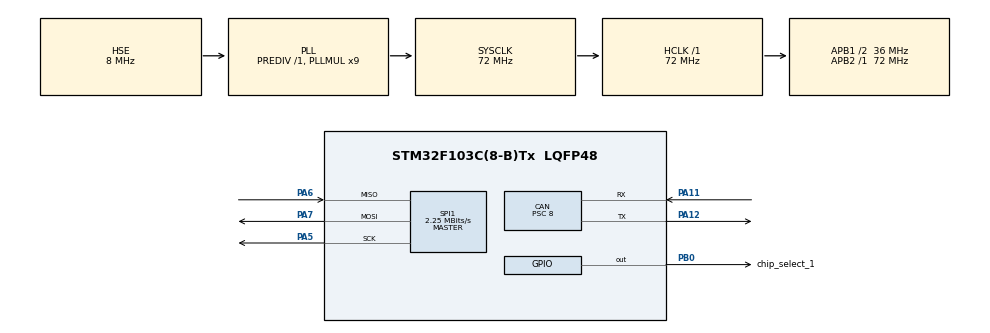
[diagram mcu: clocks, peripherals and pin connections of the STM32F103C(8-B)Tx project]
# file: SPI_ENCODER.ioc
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CAN.BS1=CAN_BS1_15TQ
CAN.BS2=CAN_BS2_2TQ
CAN.CalculateBaudRate=250000
CAN.CalculateTimeBit=4000
CAN.CalculateTimeQuantum=222.22222222222223
CAN.Mode=CAN_MODE_LOOPBACK
CAN.Prescaler=8
Mcu.Family=STM32F1
Mcu.Name=STM32F103C(8-B)Tx
Mcu.Package=LQFP48
NVIC.CAN1_RX1_IRQn=true\:0\:0\:false\:false\:true\:true\:true\:true
NVIC.PriorityGroup=NVIC_PRIORITYGROUP_4
NVIC.SPI1_IRQn=true\:0\:0\:false\:false\:true\:true\:true\:true
NVIC.USB_LP_CAN1_RX0_IRQn=true\:0\:0\:false\:false\:true\:true\:true\:true
PA11.Mode=CAN_Activate
PA11.Signal=CAN_RX
PA12.Mode=CAN_Activate
PA12.Signal=CAN_TX
PA13.Mode=Serial_Wire
PA13.Signal=SYS_JTMS-SWDIO
PA14.Mode=Serial_Wire
PA14.Signal=SYS_JTCK-SWCLK
PA5.Mode=Full_Duplex_Master
PA5.Signal=SPI1_SCK
PA6.Mode=Full_Duplex_Master
PA6.Signal=SPI1_MISO
PA7.Mode=Full_Duplex_Master
PA7.Signal=SPI1_MOSI
PB0.GPIO_Label=chip_select_1
PB0.Signal=GPIO_Output
PD0-OSC_IN.Mode=HSE-External-Oscillator
PD0-OSC_IN.Signal=RCC_OSC_IN
PD1-OSC_OUT.Mode=HSE-External-Oscillator
PD1-OSC_OUT.Signal=RCC_OSC_OUT
ProjectManager.HeapSize=0x200
ProjectManager.StackSize=0x400
ProjectManager.TargetToolchain=MDK-ARM V5.32
RCC.AHBFreq_Value=72000000
RCC.APB1CLKDivider=RCC_HCLK_DIV2
RCC.APB1Freq_Value=36000000
RCC.APB1TimFreq_Value=72000000
RCC.APB2Freq_Value=72000000
RCC.APB2TimFreq_Value=72000000
RCC.HCLKFreq_Value=72000000
RCC.PLLMUL=RCC_PLL_MUL9
RCC.PLLSourceVirtual=RCC_PLLSOURCE_HSE
RCC.SYSCLKFreq_VALUE=72000000
RCC.SYSCLKSource=RCC_SYSCLKSOURCE_PLLCLK
RCC.USBFreq_Value=72000000
SPI1.BaudRatePrescaler=SPI_BAUDRATEPRESCALER_32
SPI1.CLKPhase=SPI_PHASE_2EDGE
SPI1.CalculateBaudRate=2.25 MBits/s
SPI1.DataSize=SPI_DATASIZE_16BIT
SPI1.Direction=SPI_DIRECTION_2LINES
SPI1.Mode=SPI_MODE_MASTER
SPI1.VirtualType=VM_MASTER
board=custom

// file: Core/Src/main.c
/* USER CODE BEGIN Header */
/**
  ******************************************************************************
  * @file           : main.c
  * @brief          : Main program body
  ******************************************************************************
  * @attention
  *
  * Copyright (c) 2023 STMicroelectronics.
  * All rights reserved.
  *
  * This software is licensed under terms that can be found in the LICENSE file
  * in the root directory of this software component.
  * If no LICENSE file comes with this software, it is provided AS-IS.
  *
  ******************************************************************************
  */
/* USER CODE END Header */
#include "main.h"

CAN_HandleTypeDef hcan;

SPI_HandleTypeDef hspi1;

/* USER CODE BEGIN PV */
int test=0;
int cantest=0;
float Encoder_out=0;
CAN_TxHeaderTypeDef TxHeader;
CAN_RxHeaderTypeDef RxHeader;
uint32_t TxMailbox;
uint8_t TxData [8];
uint8_t RxData [8];
uint8_t a=0;
uint16_t new_enc=0;
//uint16_t data;
//uint32_t read_address=0xFFFF;

/* USER CODE END PV */

void SystemClock_Config(void);
static void MX_GPIO_Init(void);
static void MX_SPI1_Init(void);
static void MX_CAN_Init(void);

/* USER CODE BEGIN 0 */

float ReadEncoder_NEW(){
uint16_t new_enc;
uint16_t data;
uint32_t read_address=0xFFFF;
HAL_GPIO_WritePin(chip_select_1_GPIO_Port,chip_select_1_Pin,0);
HAL_Delay(10);
HAL_SPI_TransmitReceive_IT(&hspi1,(uint8_t*)read_address,(uint8_t*)&data,2);
HAL_Delay(10);
HAL_GPIO_WritePin(chip_select_1_GPIO_Port,chip_select_1_Pin,1);
HAL_Delay(10);
data=data & 0x3FFF;
new_enc=((data/16383.0)*720);

	TxHeader.StdId = 0x24;

	TxHeader.ExtId = 0;

	TxHeader.IDE = CAN_ID_STD;

	TxHeader.DLC  = 2;

	TxHeader.RTR = CAN_RTR_DATA;

	TxHeader.TransmitGlobalTime = DISABLE;

	  TxData[0] = new_enc >> 8 & 0xFF;
		TxData[1] = new_enc & 0xFF;
		TxData[2] = 0;
		TxData[3] = 0;
		TxData[4] = 0;
		TxData[5] = 0;
		TxData[6] = 0;
		TxData[7] = 0;

		HAL_CAN_AddTxMessage(&hcan, &TxHeader, TxData, &TxMailbox);
		HAL_Delay(1);

return new_enc;

}

void HAL_CAN_RxFifo0MsgPendingCallback(CAN_HandleTypeDef *hcan)
{

	cantest++;
	HAL_CAN_GetRxMessage(hcan,CAN_RX_FIFO0,&RxHeader , RxData);
	//HAL_GPIO_TogglePin(GPIOB,GPIO_PIN_9);
	//HAL_Delay(1000);

}

/* USER CODE END 0 */

int main(void)
{

  /* MCU Configuration--------------------------------------------------------*/

  /* Reset of all peripherals, Initializes the Flash interface and the Systick. */

  HAL_Init();

  /* Configure the system clock */
  SystemClock_Config();

  /* Initialize all configured peripherals */
  MX_GPIO_Init();
  MX_SPI1_Init();
  MX_CAN_Init();
  /* USER CODE BEGIN 2 */
	HAL_CAN_Start(&hcan);
	HAL_CAN_ActivateNotification(&hcan , CAN_IT_RX_FIFO0_MSG_PENDING);
	HAL_GPIO_WritePin(chip_select_1_GPIO_Port,chip_select_1_Pin,1);

  /* USER CODE END 2 */

  /* Infinite loop */
  while (1)
  {

    /* USER CODE BEGIN 3 */
		test++;
		Encoder_out=ReadEncoder_NEW();

		HAL_Delay(200);
  }
  /* USER CODE END 3 */
}

void SystemClock_Config(void)
{
  RCC_OscInitTypeDef RCC_OscInitStruct = {0};
  RCC_ClkInitTypeDef RCC_ClkInitStruct = {0};

  /** Initializes the RCC Oscillators according to the specified parameters
  * in the RCC_OscInitTypeDef structure.
  */
  RCC_OscInitStruct.OscillatorType = RCC_OSCILLATORTYPE_HSE;
  RCC_OscInitStruct.HSEState = RCC_HSE_ON;
  RCC_OscInitStruct.HSEPredivValue = RCC_HSE_PREDIV_DIV1;
  RCC_OscInitStruct.HSIState = RCC_HSI_ON;
  RCC_OscInitStruct.PLL.PLLState = RCC_PLL_ON;
  RCC_OscInitStruct.PLL.PLLSource = RCC_PLLSOURCE_HSE;
  RCC_OscInitStruct.PLL.PLLMUL = RCC_PLL_MUL9;
  if (HAL_RCC_OscConfig(&RCC_OscInitStruct) != HAL_OK)
  {
    Error_Handler();
  }

  /** Initializes the CPU, AHB and APB buses clocks
  */
  RCC_ClkInitStruct.ClockType = RCC_CLOCKTYPE_HCLK|RCC_CLOCKTYPE_SYSCLK
                              |RCC_CLOCKTYPE_PCLK1|RCC_CLOCKTYPE_PCLK2;
  RCC_ClkInitStruct.SYSCLKSource = RCC_SYSCLKSOURCE_PLLCLK;
  RCC_ClkInitStruct.AHBCLKDivider = RCC_SYSCLK_DIV1;
  RCC_ClkInitStruct.APB1CLKDivider = RCC_HCLK_DIV2;
  RCC_ClkInitStruct.APB2CLKDivider = RCC_HCLK_DIV1;

  if (HAL_RCC_ClockConfig(&RCC_ClkInitStruct, FLASH_LATENCY_2) != HAL_OK)
  {
    Error_Handler();
  }
}

static void MX_CAN_Init(void)
{

  hcan.Instance = CAN1;
  hcan.Init.Prescaler = 8;
  hcan.Init.Mode = CAN_MODE_NORMAL;
  hcan.Init.SyncJumpWidth = CAN_SJW_1TQ;
  hcan.Init.TimeSeg1 = CAN_BS1_15TQ;
  hcan.Init.TimeSeg2 = CAN_BS2_2TQ;
  hcan.Init.TimeTriggeredMode = DISABLE;
  hcan.Init.AutoBusOff = DISABLE;
  hcan.Init.AutoWakeUp = DISABLE;
  hcan.Init.AutoRetransmission = DISABLE;
  hcan.Init.ReceiveFifoLocked = DISABLE;
  hcan.Init.TransmitFifoPriority = DISABLE;
  if (HAL_CAN_Init(&hcan) != HAL_OK)
  {
    Error_Handler();
  }
  /* USER CODE BEGIN CAN_Init 2 */

	CAN_FilterTypeDef canfilterconfig;

	canfilterconfig.FilterActivation = CAN_FILTER_ENABLE;
	canfilterconfig.FilterBank = 10; //14 // which filter bank to use from the assigned ones
	canfilterconfig.FilterFIFOAssignment = CAN_FILTER_FIFO0;
	canfilterconfig.FilterIdHigh = 0x000<<5;
	canfilterconfig.FilterIdLow = 0;
	canfilterconfig.FilterMaskIdHigh = 0x000<<5;
	canfilterconfig.FilterMaskIdLow = 0x0000;
	canfilterconfig.FilterMode = CAN_FILTERMODE_IDMASK;
	canfilterconfig.FilterScale = CAN_FILTERSCALE_32BIT;
	canfilterconfig.SlaveStartFilterBank = 0;//14	// how many filters to assign to the CAN1 (master can)

	HAL_CAN_ConfigFilter(&hcan, &canfilterconfig);

  /* USER CODE END CAN_Init 2 */

}

static void MX_SPI1_Init(void)
{

  /* SPI1 parameter configuration*/
  hspi1.Instance = SPI1;
  hspi1.Init.Mode = SPI_MODE_MASTER;
  hspi1.Init.Direction = SPI_DIRECTION_2LINES;
  hspi1.Init.DataSize = SPI_DATASIZE_16BIT;
  hspi1.Init.CLKPolarity = SPI_POLARITY_LOW;
  hspi1.Init.CLKPhase = SPI_PHASE_2EDGE;
  hspi1.Init.NSS = SPI_NSS_SOFT;
  hspi1.Init.BaudRatePrescaler = SPI_BAUDRATEPRESCALER_32;
  hspi1.Init.FirstBit = SPI_FIRSTBIT_MSB;
  hspi1.Init.TIMode = SPI_TIMODE_DISABLE;
  hspi1.Init.CRCCalculation = SPI_CRCCALCULATION_DISABLE;
  hspi1.Init.CRCPolynomial = 10;
  if (HAL_SPI_Init(&hspi1) != HAL_OK)
  {
    Error_Handler();
  }

}

static void MX_GPIO_Init(void)
{
  GPIO_InitTypeDef GPIO_InitStruct = {0};

  /* GPIO Ports Clock Enable */
  __HAL_RCC_GPIOD_CLK_ENABLE();
  __HAL_RCC_GPIOA_CLK_ENABLE();
  __HAL_RCC_GPIOB_CLK_ENABLE();

  /*Configure GPIO pin Output Level */
  HAL_GPIO_WritePin(chip_select_1_GPIO_Port, chip_select_1_Pin, GPIO_PIN_RESET);

  /*Configure GPIO pin : chip_select_1_Pin */
  GPIO_InitStruct.Pin = chip_select_1_Pin;
  GPIO_InitStruct.Mode = GPIO_MODE_OUTPUT_PP;
  GPIO_InitStruct.Pull = GPIO_NOPULL;
  GPIO_InitStruct.Speed = GPIO_SPEED_FREQ_LOW;
  HAL_GPIO_Init(chip_select_1_GPIO_Port, &GPIO_InitStruct);

}

void Error_Handler(void)
{
  __disable_irq();
  while (1)
  {
  }
}
